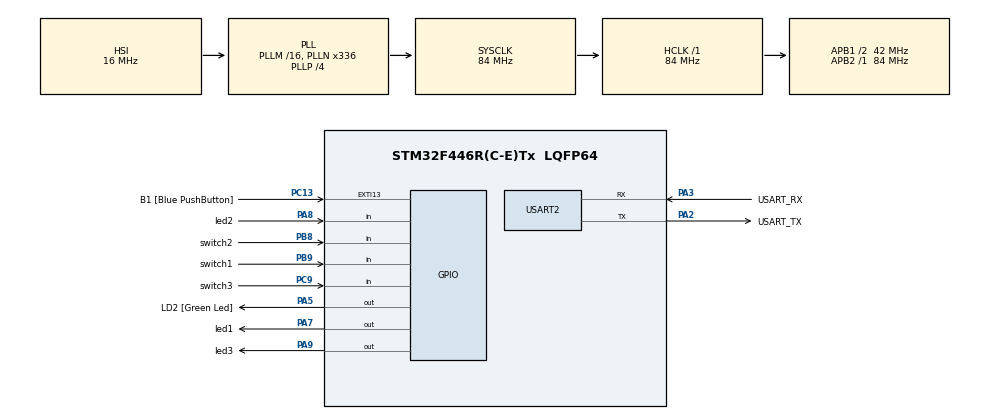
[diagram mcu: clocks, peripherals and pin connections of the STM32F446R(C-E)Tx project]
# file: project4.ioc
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Mcu.Family=STM32F4
Mcu.Name=STM32F446R(C-E)Tx
Mcu.Package=LQFP64
NVIC.PriorityGroup=NVIC_PRIORITYGROUP_0
NVIC.TIM6_DAC_IRQn=true\:0\:0\:false\:false\:true\:true\:true\:true
PA13.GPIO_Label=TMS
PA13.Mode=Serial_Wire
PA13.Signal=SYS_JTMS-SWDIO
PA14.GPIO_Label=TCK
PA14.Mode=Serial_Wire
PA14.Signal=SYS_JTCK-SWCLK
PA2.GPIO_Label=USART_TX
PA2.Mode=Asynchronous
PA2.Signal=USART2_TX
PA3.GPIO_Label=USART_RX
PA3.Mode=Asynchronous
PA3.Signal=USART2_RX
PA5.GPIO_Label=LD2 [Green Led]
PA5.Signal=GPIO_Output
PA7.GPIO_Label=led1
PA7.Signal=GPIO_Output
PA8.GPIO_Label=led2
PA8.Signal=GPIO_Input
PA9.GPIO_Label=led3
PA9.Signal=GPIO_Output
PB3.GPIO_Label=SWO
PB3.Signal=SYS_JTDO-SWO
PB8.GPIO_Label=switch2
PB8.GPIO_PuPd=GPIO_PULLUP
PB8.Signal=GPIO_Input
PB9.GPIO_Label=switch1
PB9.GPIO_PuPd=GPIO_PULLUP
PB9.Signal=GPIO_Input
PC13.GPIO_Label=B1 [Blue PushButton]
PC13.GPIO_ModeDefaultEXTI=GPIO_MODE_IT_FALLING
PC13.Signal=GPXTI13
PC14-OSC32_IN.Mode=LSE-External-Oscillator
PC14-OSC32_IN.Signal=RCC_OSC32_IN
PC15-OSC32_OUT.Mode=LSE-External-Oscillator
PC15-OSC32_OUT.Signal=RCC_OSC32_OUT
PC9.GPIO_Label=switch3
PC9.GPIO_PuPd=GPIO_PULLUP
PC9.Signal=GPIO_Input
PH0-OSC_IN.Mode=HSE-External-Oscillator
PH0-OSC_IN.Signal=RCC_OSC_IN
PH1-OSC_OUT.Mode=HSE-External-Oscillator
PH1-OSC_OUT.Signal=RCC_OSC_OUT
ProjectManager.HeapSize=0x200
ProjectManager.StackSize=0x400
ProjectManager.TargetToolchain=STM32CubeIDE
RCC.48MHZClocksFreq_Value=84000000
RCC.AHBFreq_Value=84000000
RCC.APB1CLKDivider=RCC_HCLK_DIV2
RCC.APB1Freq_Value=42000000
RCC.APB1TimFreq_Value=84000000
RCC.APB2Freq_Value=84000000
RCC.APB2TimFreq_Value=84000000
RCC.CortexFreq_Value=84000000
RCC.FLatency-AdvancedSettings=FLASH_LATENCY_2
RCC.HCLKFreq_Value=84000000
RCC.HSE_VALUE=8000000
RCC.HSI_VALUE=16000000
RCC.PLLN=336
RCC.PLLP=RCC_PLLP_DIV4
RCC.SYSCLKFreq_VALUE=84000000
RCC.SYSCLKSource=RCC_SYSCLKSOURCE_PLLCLK
RCC.USBFreq_Value=168000000
RCC.VCOOutputFreq_Value=336000000
TIM6.Period=10000
TIM6.Prescaler=8399
USART2.VirtualMode=VM_ASYNC
VP_TIM6_VS_ClockSourceINT.Mode=Enable_Timer
board=NUCLEO-F446RE

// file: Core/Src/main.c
/* USER CODE BEGIN Header */
/**
  ******************************************************************************
  * @file           : main.c
  * @brief          : Main program body
  ******************************************************************************
  * @attention
  *
  * Copyright (c) 2024 STMicroelectronics.
  * All rights reserved.
  *
  * This software is licensed under terms that can be found in the LICENSE file
  * in the root directory of this software component.
  * If no LICENSE file comes with this software, it is provided AS-IS.
  *
  ******************************************************************************
  */
/* USER CODE END Header */
#include "main.h"

UART_HandleTypeDef huart2;
TIM_HandleTypeDef htim6;

void SystemClock_Config(void);
static void MX_GPIO_Init(void);
static void MX_USART2_UART_Init(void);
static void MX_TIM6_Init(void);
/* USER CODE BEGIN PFP */
void HAL_TIM_PeriodElapsedCallback(TIM_HandleTypeDef *htim);
/* USER CODE END PFP */

int main(void)
{

  /* MCU Configuration--------------------------------------------------------*/

  /* Reset of all peripherals, Initializes the Flash interface and the Systick. */
  HAL_Init();

  /* Configure the system clock */
  SystemClock_Config();

  /* Initialize all configured peripherals */
  MX_GPIO_Init();
  MX_USART2_UART_Init();
  MX_TIM6_Init();
  /* USER CODE BEGIN 2 */
  HAL_TIM_Base_Start_IT(&htim6); // Start Timer 6 with interrupt
  /* USER CODE END 2 */

  /* Infinite loop */
  /* USER CODE BEGIN WHILE */
  while (1)
  {
    // Main loop is empty; functionality is handled by Timer 6 interrupt
    /* USER CODE END WHILE */

  }
}

void SystemClock_Config(void)
{
  RCC_OscInitTypeDef RCC_OscInitStruct = {0};
  RCC_ClkInitTypeDef RCC_ClkInitStruct = {0};

  /** Configure the main internal regulator output voltage
  */
  __HAL_RCC_PWR_CLK_ENABLE();
  __HAL_PWR_VOLTAGESCALING_CONFIG(PWR_REGULATOR_VOLTAGE_SCALE3);

  /** Initializes the RCC Oscillators according to the specified parameters
  * in the RCC_OscInitTypeDef structure.
  */
  RCC_OscInitStruct.OscillatorType = RCC_OSCILLATORTYPE_HSI;
  RCC_OscInitStruct.HSIState = RCC_HSI_ON;
  RCC_OscInitStruct.HSICalibrationValue = RCC_HSICALIBRATION_DEFAULT;
  RCC_OscInitStruct.PLL.PLLState = RCC_PLL_ON;
  RCC_OscInitStruct.PLL.PLLSource = RCC_PLLSOURCE_HSI;
  RCC_OscInitStruct.PLL.PLLM = 16;
  RCC_OscInitStruct.PLL.PLLN = 336;
  RCC_OscInitStruct.PLL.PLLP = RCC_PLLP_DIV4;
  RCC_OscInitStruct.PLL.PLLQ = 2;
  RCC_OscInitStruct.PLL.PLLR = 2;
  if (HAL_RCC_OscConfig(&RCC_OscInitStruct) != HAL_OK)
  {
    Error_Handler();
  }

  /** Initializes the CPU, AHB and APB buses clocks
  */
  RCC_ClkInitStruct.ClockType = RCC_CLOCKTYPE_HCLK|RCC_CLOCKTYPE_SYSCLK
                              |RCC_CLOCKTYPE_PCLK1|RCC_CLOCKTYPE_PCLK2;
  RCC_ClkInitStruct.SYSCLKSource = RCC_SYSCLKSOURCE_PLLCLK;
  RCC_ClkInitStruct.AHBCLKDivider = RCC_SYSCLK_DIV1;
  RCC_ClkInitStruct.APB1CLKDivider = RCC_HCLK_DIV2;
  RCC_ClkInitStruct.APB2CLKDivider = RCC_HCLK_DIV1;

  if (HAL_RCC_ClockConfig(&RCC_ClkInitStruct, FLASH_LATENCY_2) != HAL_OK)
  {
    Error_Handler();
  }
}

static void MX_USART2_UART_Init(void)
{

  huart2.Instance = USART2;
  huart2.Init.BaudRate = 115200;
  huart2.Init.WordLength = UART_WORDLENGTH_8B;
  huart2.Init.StopBits = UART_STOPBITS_1;
  huart2.Init.Parity = UART_PARITY_NONE;
  huart2.Init.Mode = UART_MODE_TX_RX;
  huart2.Init.HwFlowCtl = UART_HWCONTROL_NONE;
  huart2.Init.OverSampling = UART_OVERSAMPLING_16;
  if (HAL_UART_Init(&huart2) != HAL_OK)
  {
    Error_Handler();
  }

}

static void MX_GPIO_Init(void)
{
  GPIO_InitTypeDef GPIO_InitStruct = {0};

  /* GPIO Ports Clock Enable */
  __HAL_RCC_GPIOC_CLK_ENABLE();
  __HAL_RCC_GPIOH_CLK_ENABLE();
  __HAL_RCC_GPIOA_CLK_ENABLE();
  __HAL_RCC_GPIOB_CLK_ENABLE();

  /*Configure GPIO pin Output Level */
  HAL_GPIO_WritePin(GPIOA, LD2_Pin|led1_Pin|led3_Pin, GPIO_PIN_RESET);

  /*Configure GPIO pin : B1_Pin */
  GPIO_InitStruct.Pin = B1_Pin;
  GPIO_InitStruct.Mode = GPIO_MODE_IT_FALLING;
  GPIO_InitStruct.Pull = GPIO_NOPULL;
  HAL_GPIO_Init(B1_GPIO_Port, &GPIO_InitStruct);

  /*Configure GPIO pins : LD2_Pin led1_Pin led3_Pin */
  GPIO_InitStruct.Pin = LD2_Pin|led1_Pin|led3_Pin;
  GPIO_InitStruct.Mode = GPIO_MODE_OUTPUT_PP;
  GPIO_InitStruct.Pull = GPIO_NOPULL;
  GPIO_InitStruct.Speed = GPIO_SPEED_FREQ_LOW;
  HAL_GPIO_Init(GPIOA, &GPIO_InitStruct);

  /*Configure GPIO pin : switch3_Pin */
  GPIO_InitStruct.Pin = switch3_Pin;
  GPIO_InitStruct.Mode = GPIO_MODE_INPUT;
  GPIO_InitStruct.Pull = GPIO_PULLUP;
  HAL_GPIO_Init(switch3_GPIO_Port, &GPIO_InitStruct);

  /*Configure GPIO pin : led2_Pin */
  GPIO_InitStruct.Pin = led2_Pin;
  GPIO_InitStruct.Mode = GPIO_MODE_INPUT;
  GPIO_InitStruct.Pull = GPIO_NOPULL;
  HAL_GPIO_Init(led2_GPIO_Port, &GPIO_InitStruct);

  /*Configure GPIO pins : switch2_Pin switch1_Pin */
  GPIO_InitStruct.Pin = switch2_Pin|switch1_Pin;
  GPIO_InitStruct.Mode = GPIO_MODE_INPUT;
  GPIO_InitStruct.Pull = GPIO_PULLUP;
  HAL_GPIO_Init(GPIOB, &GPIO_InitStruct);

}

static void MX_TIM6_Init(void)
{

  TIM_MasterConfigTypeDef sMasterConfig = {0};

  htim6.Instance = TIM6;
  htim6.Init.Prescaler = 8399;
  htim6.Init.CounterMode = TIM_COUNTERMODE_UP;
  htim6.Init.Period = 9999;
  htim6.Init.AutoReloadPreload = TIM_AUTORELOAD_PRELOAD_DISABLE;
  if (HAL_TIM_Base_Init(&htim6) != HAL_OK)
  {
    Error_Handler();
  }
  sMasterConfig.MasterOutputTrigger = TIM_TRGO_RESET;
  sMasterConfig.MasterSlaveMode = TIM_MASTERSLAVEMODE_DISABLE;
  if (HAL_TIMEx_MasterConfigSynchronization(&htim6, &sMasterConfig) != HAL_OK)
  {
    Error_Handler();
  }

}

/* USER CODE BEGIN 4 */
void HAL_TIM_PeriodElapsedCallback(TIM_HandleTypeDef *htim)
{
  if (htim->Instance == TIM6)
  {
    if (!(HAL_GPIO_ReadPin(GPIOC, switch1_Pin)))
    {
      HAL_GPIO_WritePin(GPIOA, led1_Pin, GPIO_PIN_SET);
    }
    else if (!(HAL_GPIO_ReadPin(GPIOB, switch2_Pin)))
    {
      HAL_GPIO_WritePin(GPIOA, led1_Pin, GPIO_PIN_SET);
      HAL_GPIO_WritePin(GPIOA, led2_Pin, GPIO_PIN_SET);
    }
    else if (!(HAL_GPIO_ReadPin(GPIOB, switch3_Pin)))
    {
      HAL_GPIO_WritePin(GPIOA, led1_Pin, GPIO_PIN_SET);
      HAL_GPIO_WritePin(GPIOA, led2_Pin, GPIO_PIN_SET);
      HAL_GPIO_WritePin(GPIOA, led3_Pin, GPIO_PIN_SET);
    }
    else
    {
      HAL_GPIO_WritePin(GPIOA, led1_Pin, GPIO_PIN_RESET);
      HAL_GPIO_WritePin(GPIOA, led2_Pin, GPIO_PIN_RESET);
      HAL_GPIO_WritePin(GPIOA, led3_Pin, GPIO_PIN_RESET);
    }
  }
}
/* USER CODE END 4 */

void Error_Handler(void)
{
  __disable_irq();
  while (1)
  {
  }
}
